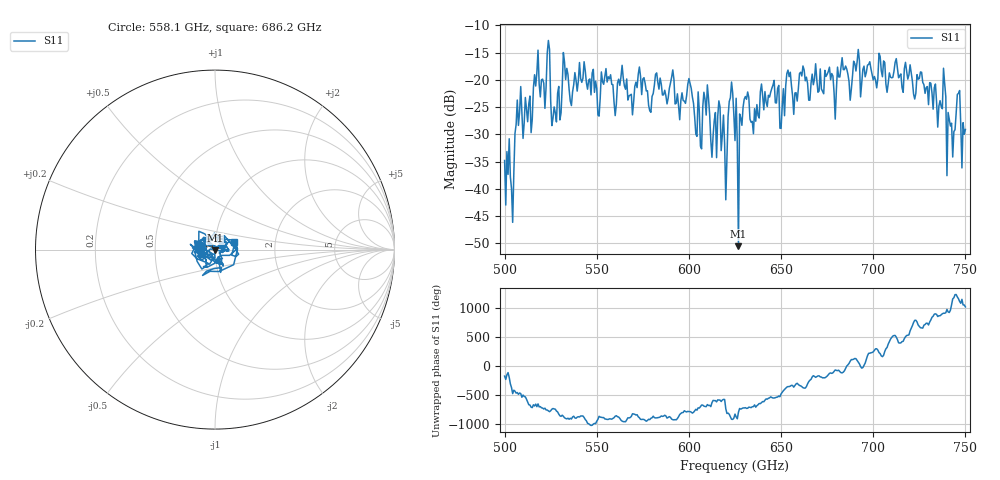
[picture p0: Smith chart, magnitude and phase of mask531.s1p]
!Created with skrf (http://scikit-rf.org).
# GHz S MA R 50.0
!freq magS11 angS11
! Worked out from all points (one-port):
!   401 points, 500 GHz to 750 GHz, reference 50 ohm
!   lowest |S11| = -50.5 dB at 626.9 GHz (marker M1), VSWR 1.01, Z = 50.1 - j0.288 ohm
!   |S11| at or under -10 dB: start of sweep to end of sweep
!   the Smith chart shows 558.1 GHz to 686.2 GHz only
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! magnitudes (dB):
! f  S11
! 500 GHz  -34.8
! 504.4 GHz  -46.2
! 507.5 GHz  -28.4
! 513.8 GHz  -23.0
! 516.9 GHz  -21.1
! 523.8 GHz  -12.8
! 526.9 GHz  -25.0
! 531.2 GHz  -21.3
! 562.5 GHz  -21.0
! 579.4 GHz  -26.0
! 590.6 GHz  -19.5
! 593.8 GHz  -22.6
! 600.6 GHz  -20.7
! 605.6 GHz  -25.7
! 609.4 GHz  -26.5
! 619.4 GHz  -31.8
! 622.5 GHz  -23.3
! 625 GHz  -31.1
! 625.6 GHz  -23.4
! 626.9 GHz  -50.5
! 631.2 GHz  -23.6
! 635 GHz  -29.9
! 640 GHz  -22.9
! 656.2 GHz  -22.9
! 687.5 GHz  -23.7
! 690.6 GHz  -18.4
! 718.8 GHz  -19.9
! 750 GHz  -29.1
